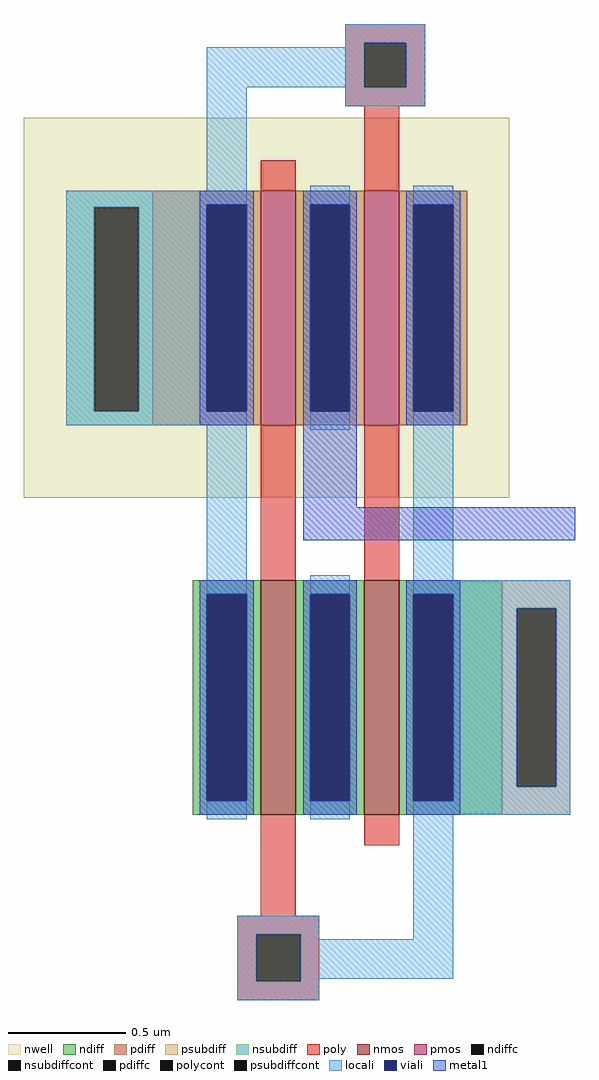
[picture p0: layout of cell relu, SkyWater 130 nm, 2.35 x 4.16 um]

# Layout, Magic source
magic
tech sky130A
magscale 1 2
<< nwell >>
rect -756 746 -648 800
rect -756 738 -646 746
rect -756 538 -600 738
rect -756 534 -646 538
rect -756 476 -648 534
<< ndiff >>
rect -378 206 -348 406
<< pdiff >>
rect -646 538 -612 738
<< psubdiff >>
rect -348 382 -290 406
rect -348 230 -336 382
rect -302 230 -290 382
rect -348 206 -290 230
<< nsubdiff >>
rect -720 724 -646 738
rect -720 550 -696 724
rect -658 550 -646 724
rect -720 538 -646 550
<< psubdiffcont >>
rect -336 230 -302 382
<< nsubdiffcont >>
rect -696 550 -658 724
<< poly >>
rect -482 864 -414 880
rect -482 826 -466 864
rect -430 826 -414 864
rect -482 810 -414 826
rect -466 764 -436 810
rect -554 432 -524 512
rect -466 432 -436 512
rect -554 120 -524 180
rect -574 104 -504 120
rect -574 64 -558 104
rect -520 64 -504 104
rect -574 48 -504 64
<< polycont >>
rect -466 826 -430 864
rect -558 64 -520 104
<< locali >>
rect -482 864 -414 880
rect -482 860 -466 864
rect -600 826 -466 860
rect -430 826 -414 864
rect -600 742 -566 826
rect -482 810 -414 826
rect -720 724 -600 738
rect -720 550 -696 724
rect -658 550 -600 724
rect -720 538 -600 550
rect -600 410 -566 534
rect -424 410 -390 534
rect -390 382 -290 406
rect -390 230 -336 382
rect -302 230 -290 382
rect -390 206 -290 230
rect -574 104 -504 120
rect -574 64 -558 104
rect -520 100 -504 104
rect -424 100 -390 202
rect -520 66 -390 100
rect -520 64 -504 66
rect -574 48 -504 64
<< metal1 >>
rect -518 468 -472 538
rect -518 440 -286 468
use sky130_fd_pr__nfet_01v8_J2TWZ5  XM2 ~/Desktop/tinytapeoutsig/mag/sig
transform 1 0 -539 0 1 306
box -73 -126 73 126
use sky130_fd_pr__pfet_01v8_5U3NDE  XM4 ~/Desktop/tinytapeoutsig/mag/sig
transform 1 0 -451 0 1 638
box -109 -162 109 162
use sky130_fd_pr__nfet_01v8_J2TWZ5  sky130_fd_pr__nfet_01v8_J2TWZ5_0
transform 1 0 -451 0 1 306
box -73 -126 73 126
use sky130_fd_pr__pfet_01v8_5U3NDE  sky130_fd_pr__pfet_01v8_5U3NDE_0
transform 1 0 -539 0 1 638
box -109 -162 109 162
<< end >>

# cell sky130_fd_pr__nfet_01v8_J2TWZ5: kit device sky130_fd_pr__nfet_01v8, w 1.0 l 0.15 m 1 nf 1 diffcov 100 polycov 100 guard 0 glc 0 grc 0 gtc 0 gbc 0 tbcov 100 rlcov 100 topc 0 botc 0 poverlap 0 doverlap 1 lmin 0.15 wmin 0.42 compatible {sky130_fd_pr__nfet_01v8 sky130_fd_pr__nfet_01v8_lvt sky130_fd_bs_flash__special_sonosfet_star sky130_fd_pr__nfet_g5v0d10v5 sky130_fd_pr__nfet_05v0_nvt sky130_fd_pr__nfet_03v3_nvt} full_metal 0 viasrc 100 viadrn 100 viagate 100 viagb 0 viagr 0 viagl 0 viagt 0

# cell sky130_fd_pr__pfet_01v8_5U3NDE: kit device sky130_fd_pr__pfet_01v8, w 1.0 l 0.15 m 1 nf 1 diffcov 100 polycov 100 guard 0 glc 0 grc 0 gtc 0 gbc 0 tbcov 100 rlcov 100 topc 0 botc 0 poverlap 0 doverlap 1 lmin 0.15 wmin 0.42 compatible {sky130_fd_pr__pfet_01v8 sky130_fd_pr__pfet_01v8_lvt sky130_fd_pr__pfet_01v8_hvt sky130_fd_pr__pfet_g5v0d10v5} full_metal 0 viasrc 100 viadrn 100 viagate 100 viagb 0 viagr 0 viagl 0 viagt 0
